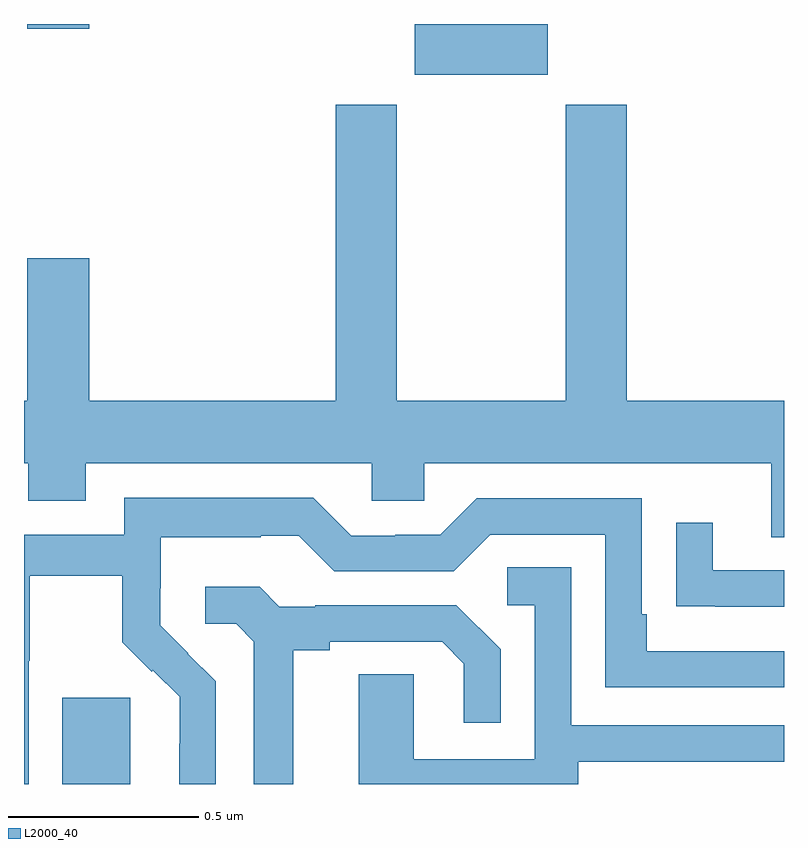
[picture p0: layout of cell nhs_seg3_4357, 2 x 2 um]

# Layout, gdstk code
import gdstk
lib = gdstk.Library(unit=1e-6, precision=1e-09)
def R(c, l, rs):  # rectangles x0, y0, x1, y1
    for r in rs: c.add(gdstk.rectangle(r[:2], r[2:], *l))
def P(c, l, *ps):  # polygons
    for p in ps: c.add(gdstk.Polygon(p, *l))
L2000_40 = (2000, 40)

nhs_seg3_4357 = lib.new_cell('nhs_seg3_4357')
R(nhs_seg3_4357, L2000_40, [(165.101,705.4,165.28,705.627), (166.028,707.267,166.378,707.4), (165.008,707.388,165.172,707.4)])
P(nhs_seg3_4357, L2000_40, [(167,706.408),(166.586,706.408),(166.586,707.188),(166.426,707.188),(166.426,706.408),(165.981,706.408),(165.981,707.188),(165.821,707.188),(165.821,706.408),(165.172,706.408),(165.172,706.783),(165.008,706.783),(165.008,706.408),(165,706.408),(165,706.244),(165.011,706.244),(165.011,706.145),(165.163,706.145),(165.163,706.244),(165.915,706.244),(165.915,706.146),(166.053,706.146),(166.053,706.244),(166.967,706.244),(166.967,706.05),(167,706.05)],
  [(165.012,705.724),(165.015,705.724),(165.015,705.948),(165.259,705.948),(165.259,705.773),(165.336,705.696),(165.339,705.699),(165.41,705.629),(165.41,705.506),(165.408,705.506),(165.408,705.4),(165.504,705.4),(165.504,705.67),(165.431,705.743),(165.432,705.744),(165.358,705.818),(165.358,705.915),(165.36,705.915),(165.36,706.049),(165.623,706.049),(165.623,706.053),(165.723,706.053),(165.816,705.96),(166.131,705.96),(166.227,706.056),(166.53,706.056),(166.53,705.654),(167,705.654),(167,705.75),(166.639,705.75),(166.639,705.847),(166.626,705.847),(166.626,706.152),(166.191,706.152),(166.095,706.056),(165.977,706.056),(165.977,706.053),(165.861,706.053),(165.761,706.153),(165.264,706.153),(165.264,706.056),(165,706.056),(165,705.4),(165.012,705.4)],
  [(167,705.963),(166.813,705.963),(166.813,706.087),(166.717,706.087),(166.717,705.868),(166.819,705.868),(166.819,705.867),(167,705.867)],
  [(166.459,705.459),(167,705.459),(167,705.555),(166.44,705.555),(166.44,705.971),(166.272,705.971),(166.272,705.87),(166.344,705.87),(166.344,705.465),(166.026,705.465),(166.026,705.689),(165.881,705.689),(165.881,705.4),(166.459,705.4)],
  [(165.709,705.752),(165.805,705.752),(165.805,705.774),(166.1,705.774),(166.157,705.717),(166.157,705.561),(166.254,705.561),(166.254,705.754),(166.138,705.87),(165.766,705.87),(165.766,705.867),(165.672,705.867),(165.62,705.919),(165.477,705.919),(165.477,705.822),(165.558,705.822),(165.605,705.775),(165.605,705.4),(165.709,705.4)])

lib.write_gds('nhs_seg3_4357.gds')
